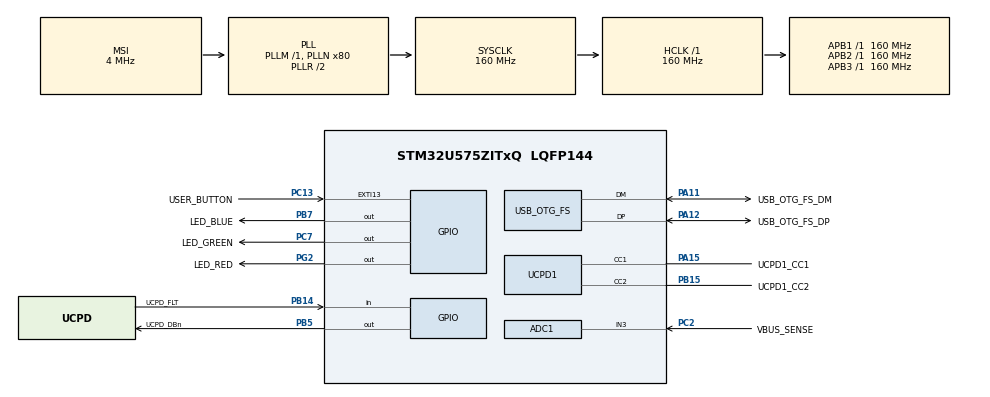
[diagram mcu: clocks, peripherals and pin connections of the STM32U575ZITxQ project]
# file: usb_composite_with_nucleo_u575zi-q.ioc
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ADC1.NbrOfConversion=1
ADC1.Resolution=ADC_RESOLUTION_14B
ADC1.master=1
AL94.I-CUBE-USBD-COMPOSITE.1.0.3.CompositeCcUSBJjCOMPOSITEJjCOMPOSITE=true
AL94.I-CUBE-USBD-COMPOSITE.1.0.3.CompositeCcUSBJjCOMPOSITEJjCore=true
AL94.I-CUBE-USBD-COMPOSITE.1.0.3.CompositeCcUSBJjCOMPOSITEJjHIDIiMOUSE=true
AL94.I-CUBE-USBD-COMPOSITE.1.0.3._USBD_USE_HID_MOUSE=true
CORTEX_M33_NS.userName=CORTEX_M33
Mcu.Family=STM32U5
Mcu.Name=STM32U575ZITxQ
Mcu.Package=LQFP144
NVIC.OTG_FS_IRQn=true\:0\:0\:false\:false\:true\:true\:true\:true
NVIC.PriorityGroup=NVIC_PRIORITYGROUP_3
PA10.Signal=USB_OTG_FS_ID
PA11.GPIO_Label=USB_OTG_FS_DM
PA11.GPIO_Speed=GPIO_SPEED_FREQ_VERY_HIGH
PA11.Mode=Device_Only
PA11.Signal=USB_OTG_FS_DM
PA12.GPIO_Label=USB_OTG_FS_DP
PA12.GPIO_Speed=GPIO_SPEED_FREQ_VERY_HIGH
PA12.Mode=Device_Only
PA12.Signal=USB_OTG_FS_DP
PA13\ (JTMS/SWDIO).Mode=Trace_Asynchronous_SW
PA13\ (JTMS/SWDIO).Signal=DEBUG_JTMS-SWDIO
PA14\ (JTCK/SWCLK).Mode=Trace_Asynchronous_SW
PA14\ (JTCK/SWCLK).Signal=DEBUG_JTCK-SWCLK
PA15\ (JTDI).GPIO_Label=UCPD1_CC1
PA15\ (JTDI).Mode=Sink_AllSignals
PA15\ (JTDI).Signal=UCPD1_CC1
PA9.Signal=USB_OTG_FS_VBUS
PB14.GPIO_Label=UCPD_FLT
PB14.Signal=GPIO_Input
PB15.GPIO_Label=UCPD1_CC2
PB15.Mode=Sink_AllSignals
PB15.Signal=UCPD1_CC2
PB3\ (JTDO/TRACESWO).Mode=Trace_Asynchronous_SW
PB3\ (JTDO/TRACESWO).Signal=DEBUG_JTDO-SWO
PB5.GPIO_Label=UCPD_DBn
PB5.Signal=GPIO_Output
PB7.GPIO_Label=LED_BLUE
PB7.GPIO_ModeDefaultOutputPP=GPIO_MODE_OUTPUT_PP
PB7.GPIO_PuPd=GPIO_PULLUP
PB7.GPIO_Speed=GPIO_SPEED_FREQ_HIGH
PB7.Signal=GPIO_Output
PC13.GPIO_Label=USER_BUTTON
PC13.GPIO_ModeDefaultEXTI=GPIO_MODE_IT_FALLING
PC13.Signal=GPXTI13
PC14-OSC32_IN\ (PC14).Mode=LSE-External-Oscillator
PC14-OSC32_IN\ (PC14).Signal=RCC_OSC32_IN
PC15-OSC32_OUT\ (PC15).Mode=LSE-External-Oscillator
PC15-OSC32_OUT\ (PC15).Signal=RCC_OSC32_OUT
PC2.GPIO_Label=VBUS_SENSE
PC2.Mode=IN3-Single-Ended
PC2.Signal=ADC1_IN3
PC7.GPIO_Label=LED_GREEN
PC7.GPIO_PuPd=GPIO_PULLUP
PC7.GPIO_Speed=GPIO_SPEED_FREQ_HIGH
PC7.Signal=GPIO_Output
PG2.GPIO_Label=LED_RED
PG2.GPIO_ModeDefaultOutputPP=GPIO_MODE_OUTPUT_PP
PG2.GPIO_PuPd=GPIO_PULLUP
PG2.GPIO_Speed=GPIO_SPEED_FREQ_HIGH
PG2.Signal=GPIO_Output
PWR.PowerMode=PWR_SMPS_SUPPLY
ProjectManager.HeapSize=0x200
ProjectManager.StackSize=0x400
ProjectManager.TargetToolchain=STM32CubeIDE
RCC.ADCFreq_Value=16000000
RCC.AHBFreq_Value=160000000
RCC.APB1Freq_Value=160000000
RCC.APB1TimFreq_Value=160000000
RCC.APB2Freq_Value=160000000
RCC.APB2TimFreq_Value=160000000
RCC.APB3Freq_Value=160000000
RCC.CortexFreq_Value=160000000
RCC.DACCLockSelectionVirtual=RCC_DAC1CLKSOURCE_LSI
RCC.EPOD_VALUE=4000000
RCC.HCLKFreq_Value=160000000
RCC.HSE_VALUE=16000000
RCC.HSI48_VALUE=48000000
RCC.HSI_VALUE=16000000
RCC.LSIDIV_VALUE=32000
RCC.MSI_VALUE=4000000
RCC.PLLN=80
RCC.SYSCLKFreq_VALUE=160000000
RCC.SYSCLKSource=RCC_SYSCLKSOURCE_PLLCLK
RCC.USBFreq_Value=48000000
RCC.VCOOutputFreq_Value=320000000
USB_OTG_FS.VirtualMode=Device_Only
VP_AL94.I-CUBE-USBD-COMPOSITE_VS_USBJjComposite_1.0.0_1.0.3.Mode=USBJjComposite
VP_ICACHE_VS_ENABLE_ICACHE_MEMORY.Mode=Memoryregions
VP_ICACHE_VS_ICACHE.Mode=DirectMappedCache
VP_LPBAMQUEUE_VS_QUEUE.Mode=QUEUEMODE
VP_LPBAM_VS_SIG1.Mode=SmartRun
VP_LPBAM_VS_SIG4.Mode=LPDMA1
VP_MEMORYMAP_VS_MEMORYMAP.Mode=CurAppReg
VP_PWR_VS_DBSignals.Mode=DisableDeadBatterySignals
VP_PWR_VS_LPOM.Mode=PowerOptimisation
VP_PWR_VS_SECSignals.Mode=Security/Privilege
VP_PWR_Vdda.Mode=isolationVdda
board=NUCLEO-U575ZI-Q

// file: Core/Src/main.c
/* USER CODE BEGIN Header */
/**
  ******************************************************************************
  * @file           : main.c
  * @brief          : Main program body
  ******************************************************************************
  * @attention
  *
  * Copyright (c) 2024 STMicroelectronics.
  * All rights reserved.
  *
  * This software is licensed under terms that can be found in the LICENSE file
  * in the root directory of this software component.
  * If no LICENSE file comes with this software, it is provided AS-IS.
  *
  ******************************************************************************
  */
/* USER CODE END Header */
#include "main.h"
#include "adc.h"
#include "icache.h"
#include "memorymap.h"
#include "ucpd.h"
#include "usb_otg.h"
#include "gpio.h"

/* USER CODE BEGIN Includes */
#include "usb_device.h"
/* USER CODE END Includes */

void SystemClock_Config(void);
static void SystemPower_Config(void);

/* USER CODE BEGIN 0 */
//extern USBD_HandleTypeDef hUsbDevice;

typedef struct {
    uint8_t buttons;
    int8_t x;
    int8_t y;
    int8_t wheel;
} HID_MouseReport_TypeDef;

void SendMouseReport(uint8_t buttons, int8_t x, int8_t y, int8_t wheel) {
    HID_MouseReport_TypeDef mouse_report;

    mouse_report.buttons = buttons;
    mouse_report.x = x;
    mouse_report.y = y;
    mouse_report.wheel = wheel;

    USBD_HID_Mouse_SendReport(&hUsbDevice, (uint8_t*)&mouse_report, sizeof(mouse_report));
}

typedef struct {
    uint8_t tip_switch : 1;
    uint8_t in_range : 1;
    uint8_t padding : 6;
    uint16_t x;
    uint16_t y;
} HID_HoverReport_TypeDef;

void SendHoverReport(uint8_t tip_switch, uint8_t in_range, uint16_t x, uint16_t y) {
    HID_HoverReport_TypeDef hover_report;

    hover_report.tip_switch = tip_switch;
    hover_report.in_range = in_range;
    hover_report.padding = 0;
    hover_report.x = x;
    hover_report.y = y;

    USBD_HID_Mouse_SendReport(&hUsbDevice, (uint8_t*)&hover_report, sizeof(hover_report));
}

/* USER CODE END 0 */

int main(void)
{

  /* MCU Configuration--------------------------------------------------------*/

  /* Reset of all peripherals, Initializes the Flash interface and the Systick. */
  HAL_Init();

  /* Configure the system clock */
  SystemClock_Config();

  /* Configure the System Power */
  SystemPower_Config();

  /* Initialize all configured peripherals */
  MX_GPIO_Init();
  MX_ADC1_Init();
  MX_ICACHE_Init();
  MX_UCPD1_Init();
  MX_USB_OTG_FS_PCD_Init();
  /* USER CODE BEGIN 2 */
  MX_USB_DEVICE_Init();
  /* USER CODE END 2 */

  /* Infinite loop */
  while (1)
  {

    /* USER CODE BEGIN 3 */
  	HAL_GPIO_TogglePin(GPIOG,GPIO_PIN_2);
  	HAL_Delay(500);

    #if 0
    // Example: Move mouse cursor to the right
    SendMouseReport(0x00, 10, 0, 0);
    HAL_Delay(100);

    // Example: Move mouse cursor to the left
    SendMouseReport(0x00, -10, 0, 0);
    HAL_Delay(100);
    #endif

    // Example: Hover at coordinates (100, 200)
    SendHoverReport(0, 1, 100, 200);
    HAL_Delay(100);

    // Example: Hover at coordinates (200, 300)
    SendHoverReport(0, 1, 200, 300);
    HAL_Delay(100);

    // Example: No hover (out of range)
    SendHoverReport(0, 0, 0, 0);
    HAL_Delay(100);
  }
  /* USER CODE END 3 */
}

void SystemClock_Config(void)
{
  RCC_OscInitTypeDef RCC_OscInitStruct = {0};
  RCC_ClkInitTypeDef RCC_ClkInitStruct = {0};

  /** Configure the main internal regulator output voltage
  */
  if (HAL_PWREx_ControlVoltageScaling(PWR_REGULATOR_VOLTAGE_SCALE1) != HAL_OK)
  {
    Error_Handler();
  }

  /** Initializes the CPU, AHB and APB buses clocks
  */
  RCC_OscInitStruct.OscillatorType = RCC_OSCILLATORTYPE_HSI48|RCC_OSCILLATORTYPE_HSI
                              |RCC_OSCILLATORTYPE_MSI;
  RCC_OscInitStruct.HSIState = RCC_HSI_ON;
  RCC_OscInitStruct.HSI48State = RCC_HSI48_ON;
  RCC_OscInitStruct.HSICalibrationValue = RCC_HSICALIBRATION_DEFAULT;
  RCC_OscInitStruct.MSIState = RCC_MSI_ON;
  RCC_OscInitStruct.MSICalibrationValue = RCC_MSICALIBRATION_DEFAULT;
  RCC_OscInitStruct.MSIClockRange = RCC_MSIRANGE_4;
  RCC_OscInitStruct.PLL.PLLState = RCC_PLL_ON;
  RCC_OscInitStruct.PLL.PLLSource = RCC_PLLSOURCE_MSI;
  RCC_OscInitStruct.PLL.PLLMBOOST = RCC_PLLMBOOST_DIV1;
  RCC_OscInitStruct.PLL.PLLM = 1;
  RCC_OscInitStruct.PLL.PLLN = 80;
  RCC_OscInitStruct.PLL.PLLP = 2;
  RCC_OscInitStruct.PLL.PLLQ = 2;
  RCC_OscInitStruct.PLL.PLLR = 2;
  RCC_OscInitStruct.PLL.PLLRGE = RCC_PLLVCIRANGE_0;
  RCC_OscInitStruct.PLL.PLLFRACN = 0;
  if (HAL_RCC_OscConfig(&RCC_OscInitStruct) != HAL_OK)
  {
    Error_Handler();
  }

  /** Initializes the CPU, AHB and APB buses clocks
  */
  RCC_ClkInitStruct.ClockType = RCC_CLOCKTYPE_HCLK|RCC_CLOCKTYPE_SYSCLK
                              |RCC_CLOCKTYPE_PCLK1|RCC_CLOCKTYPE_PCLK2
                              |RCC_CLOCKTYPE_PCLK3;
  RCC_ClkInitStruct.SYSCLKSource = RCC_SYSCLKSOURCE_PLLCLK;
  RCC_ClkInitStruct.AHBCLKDivider = RCC_SYSCLK_DIV1;
  RCC_ClkInitStruct.APB1CLKDivider = RCC_HCLK_DIV1;
  RCC_ClkInitStruct.APB2CLKDivider = RCC_HCLK_DIV1;
  RCC_ClkInitStruct.APB3CLKDivider = RCC_HCLK_DIV1;

  if (HAL_RCC_ClockConfig(&RCC_ClkInitStruct, FLASH_LATENCY_4) != HAL_OK)
  {
    Error_Handler();
  }
}

/**
  * @brief Power Configuration
  * @retval None
  */
static void SystemPower_Config(void)
{
  HAL_PWREx_EnableVddIO2();

  /*
   * Switch to SMPS regulator instead of LDO
   */
  if (HAL_PWREx_ConfigSupply(PWR_SMPS_SUPPLY) != HAL_OK)
  {
    Error_Handler();
  }
}

void Error_Handler(void)
{
  __disable_irq();
  while (1)
  {
  }
}
